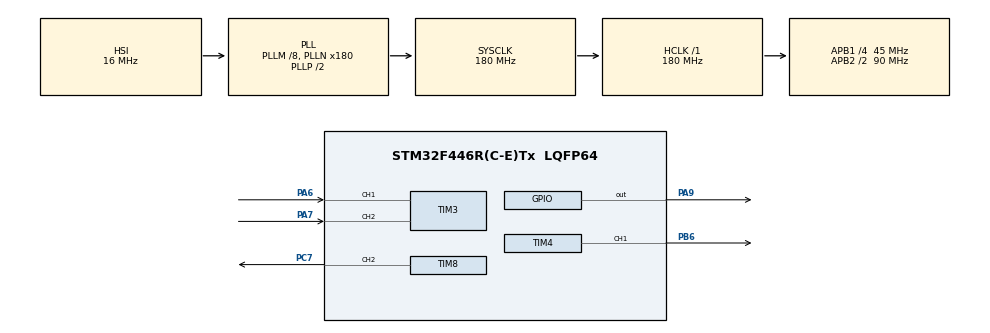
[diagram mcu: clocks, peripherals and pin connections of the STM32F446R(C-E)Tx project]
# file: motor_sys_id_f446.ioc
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Mcu.Family=STM32F4
Mcu.Name=STM32F446R(C-E)Tx
Mcu.Package=LQFP64
NVIC.PriorityGroup=NVIC_PRIORITYGROUP_4
NVIC.TIM3_IRQn=true\:0\:0\:false\:false\:true\:true\:true\:true
NVIC.TIM4_IRQn=true\:0\:0\:false\:false\:true\:true\:true\:true
NVIC.TIM5_IRQn=true\:0\:0\:false\:false\:true\:true\:true\:true
PA6.Signal=S_TIM3_CH1
PA7.Signal=S_TIM3_CH2
PA9.Signal=GPIO_Output
PB6.Signal=S_TIM4_CH1
PC7.Signal=S_TIM8_CH2
ProjectManager.HeapSize=0x200
ProjectManager.StackSize=0x400
ProjectManager.TargetToolchain=STM32CubeIDE
RCC.AHBFreq_Value=180000000
RCC.APB1CLKDivider=RCC_HCLK_DIV4
RCC.APB1Freq_Value=45000000
RCC.APB1TimFreq_Value=90000000
RCC.APB2CLKDivider=RCC_HCLK_DIV2
RCC.APB2Freq_Value=90000000
RCC.APB2TimFreq_Value=180000000
RCC.CortexFreq_Value=180000000
RCC.HCLKFreq_Value=180000000
RCC.PLLM=8
RCC.PLLN=180
RCC.SYSCLKFreq_VALUE=180000000
RCC.SYSCLKSource=RCC_SYSCLKSOURCE_PLLCLK
RCC.USBFreq_Value=180000000
RCC.VCOOutputFreq_Value=360000000
SH.S_TIM3_CH1.0=TIM3_CH1,Encoder_Interface
SH.S_TIM3_CH2.0=TIM3_CH2,Encoder_Interface
SH.S_TIM4_CH1.0=TIM4_CH1,PWM Generation1 CH1
SH.S_TIM8_CH2.0=TIM8_CH2,PWM Generation2 CH2
TIM3.EncoderMode=TIM_ENCODERMODE_TI12
TIM4.Channel-PWM\ Generation1\ CH1=TIM_CHANNEL_1
TIM4.Period=10000-1
TIM4.Prescaler=9-1
TIM5.Period=10000-1
TIM5.Prescaler=9-1
TIM8.Channel-PWM\ Generation2\ CH2=TIM_CHANNEL_2
TIM8.Period=10000-1
TIM8.Prescaler=9-1
VP_TIM4_VS_ClockSourceINT.Mode=Internal
VP_TIM5_VS_ClockSourceINT.Mode=Internal
VP_TIM8_VS_ClockSourceINT.Mode=Internal
board=custom

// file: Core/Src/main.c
/* USER CODE BEGIN Header */
/**
  ******************************************************************************
  * @file           : main.c
  * @brief          : Main program body
  ******************************************************************************
  * @attention
  *
  * Copyright (c) 2022 STMicroelectronics.
  * All rights reserved.
  *
  * This software is licensed under terms that can be found in the LICENSE file
  * in the root directory of this software component.
  * If no LICENSE file comes with this software, it is provided AS-IS.
  *
  ******************************************************************************
  */
/* USER CODE END Header */
#include "main.h"

/* USER CODE BEGIN Includes */
#include "motor.h"
#include "logging.h"
/* USER CODE END Includes */

TIM_HandleTypeDef htim3;
TIM_HandleTypeDef htim4;
TIM_HandleTypeDef htim5;
TIM_HandleTypeDef htim8;

void SystemClock_Config(void);
static void MX_GPIO_Init(void);
static void MX_TIM3_Init(void);
static void MX_TIM4_Init(void);
static void MX_TIM5_Init(void);
static void MX_TIM8_Init(void);

/* USER CODE BEGIN 0 */
motor motor_1;
Logger logger;

int tim_cnt = 0;
float sec = 0;
float duty = 1.0;
float max_voltage = 12.24;
float output_duty = 0;
int sample_idx = 0;
float sine_freq = 132;
float sine_amplitude = 6;

void HAL_TIM_PeriodElapsedCallback(TIM_HandleTypeDef *htim){
	if (htim == &htim5){
		motor_encoder_update(&motor_1);

		if (tim_cnt == 0){
			printf("timestamp, output_voltage, angular_velocity \n");
		}

//     for logging
//		 if (tim_cnt % 500 == 0){
//		 	if (logger.finished_logging == 0){
//		 		motor_1.controller.command_vel = get_logger_input(&logger);
//		 	}
//		 	else{
//		 		motor_1.controller.command_vel = 0;
//		 	}
//		 }

//     if (sec == 1)
//    	 motor_1.controller.command_vel = 6.0;
//    	 motor_duty_output(&motor_1, 0.5);

	motor_1.controller.command_vel = sine_amplitude * sin(sine_freq * sec);

    motor_command_tracking(&motor_1);

     if (tim_cnt % 4 == 0 && sec <= 5)
       log_motor_state(&motor_1, sec);

		tim_cnt ++;
		sec = (float)tim_cnt/1000;
	}
}

/* USER CODE END 0 */

int main(void)
{

  /* MCU Configuration--------------------------------------------------------*/

  /* Reset of all peripherals, Initializes the Flash interface and the Systick. */
  HAL_Init();

  /* Configure the system clock */
  SystemClock_Config();

  /* Initialize all configured peripherals */
  MX_GPIO_Init();
  MX_TIM3_Init();
  MX_TIM4_Init();
  MX_TIM5_Init();
  MX_TIM8_Init();
  /* USER CODE BEGIN 2 */
  motor_hardware_setup(&motor_1);
  motor_driver_initialize(&motor_1);
  logger_setup(&logger);
  HAL_TIM_Base_Start_IT(&htim5);

  /* USER CODE END 2 */

  /* Infinite loop */
  while (1)
  {

    /* USER CODE BEGIN 3 */
//	  motor_duty_output(&motor_1, duty);
  }
  /* USER CODE END 3 */
}

void SystemClock_Config(void)
{
  RCC_OscInitTypeDef RCC_OscInitStruct = {0};
  RCC_ClkInitTypeDef RCC_ClkInitStruct = {0};

  /** Configure the main internal regulator output voltage
  */
  __HAL_RCC_PWR_CLK_ENABLE();
  __HAL_PWR_VOLTAGESCALING_CONFIG(PWR_REGULATOR_VOLTAGE_SCALE1);

  /** Initializes the RCC Oscillators according to the specified parameters
  * in the RCC_OscInitTypeDef structure.
  */
  RCC_OscInitStruct.OscillatorType = RCC_OSCILLATORTYPE_HSI;
  RCC_OscInitStruct.HSIState = RCC_HSI_ON;
  RCC_OscInitStruct.HSICalibrationValue = RCC_HSICALIBRATION_DEFAULT;
  RCC_OscInitStruct.PLL.PLLState = RCC_PLL_ON;
  RCC_OscInitStruct.PLL.PLLSource = RCC_PLLSOURCE_HSI;
  RCC_OscInitStruct.PLL.PLLM = 8;
  RCC_OscInitStruct.PLL.PLLN = 180;
  RCC_OscInitStruct.PLL.PLLP = RCC_PLLP_DIV2;
  RCC_OscInitStruct.PLL.PLLQ = 2;
  RCC_OscInitStruct.PLL.PLLR = 2;
  if (HAL_RCC_OscConfig(&RCC_OscInitStruct) != HAL_OK)
  {
    Error_Handler();
  }

  /** Activate the Over-Drive mode
  */
  if (HAL_PWREx_EnableOverDrive() != HAL_OK)
  {
    Error_Handler();
  }

  /** Initializes the CPU, AHB and APB buses clocks
  */
  RCC_ClkInitStruct.ClockType = RCC_CLOCKTYPE_HCLK|RCC_CLOCKTYPE_SYSCLK
                              |RCC_CLOCKTYPE_PCLK1|RCC_CLOCKTYPE_PCLK2;
  RCC_ClkInitStruct.SYSCLKSource = RCC_SYSCLKSOURCE_PLLCLK;
  RCC_ClkInitStruct.AHBCLKDivider = RCC_SYSCLK_DIV1;
  RCC_ClkInitStruct.APB1CLKDivider = RCC_HCLK_DIV4;
  RCC_ClkInitStruct.APB2CLKDivider = RCC_HCLK_DIV2;

  if (HAL_RCC_ClockConfig(&RCC_ClkInitStruct, FLASH_LATENCY_5) != HAL_OK)
  {
    Error_Handler();
  }
}

static void MX_TIM3_Init(void)
{

  TIM_Encoder_InitTypeDef sConfig = {0};
  TIM_MasterConfigTypeDef sMasterConfig = {0};

  htim3.Instance = TIM3;
  htim3.Init.Prescaler = 0;
  htim3.Init.CounterMode = TIM_COUNTERMODE_UP;
  htim3.Init.Period = 65535;
  htim3.Init.ClockDivision = TIM_CLOCKDIVISION_DIV1;
  htim3.Init.AutoReloadPreload = TIM_AUTORELOAD_PRELOAD_DISABLE;
  sConfig.EncoderMode = TIM_ENCODERMODE_TI12;
  sConfig.IC1Polarity = TIM_ICPOLARITY_RISING;
  sConfig.IC1Selection = TIM_ICSELECTION_DIRECTTI;
  sConfig.IC1Prescaler = TIM_ICPSC_DIV1;
  sConfig.IC1Filter = 0;
  sConfig.IC2Polarity = TIM_ICPOLARITY_RISING;
  sConfig.IC2Selection = TIM_ICSELECTION_DIRECTTI;
  sConfig.IC2Prescaler = TIM_ICPSC_DIV1;
  sConfig.IC2Filter = 0;
  if (HAL_TIM_Encoder_Init(&htim3, &sConfig) != HAL_OK)
  {
    Error_Handler();
  }
  sMasterConfig.MasterOutputTrigger = TIM_TRGO_RESET;
  sMasterConfig.MasterSlaveMode = TIM_MASTERSLAVEMODE_DISABLE;
  if (HAL_TIMEx_MasterConfigSynchronization(&htim3, &sMasterConfig) != HAL_OK)
  {
    Error_Handler();
  }

}

static void MX_TIM4_Init(void)
{

  TIM_ClockConfigTypeDef sClockSourceConfig = {0};
  TIM_MasterConfigTypeDef sMasterConfig = {0};
  TIM_OC_InitTypeDef sConfigOC = {0};

  htim4.Instance = TIM4;
  htim4.Init.Prescaler = 9-1;
  htim4.Init.CounterMode = TIM_COUNTERMODE_UP;
  htim4.Init.Period = 10000-1;
  htim4.Init.ClockDivision = TIM_CLOCKDIVISION_DIV1;
  htim4.Init.AutoReloadPreload = TIM_AUTORELOAD_PRELOAD_DISABLE;
  if (HAL_TIM_Base_Init(&htim4) != HAL_OK)
  {
    Error_Handler();
  }
  sClockSourceConfig.ClockSource = TIM_CLOCKSOURCE_INTERNAL;
  if (HAL_TIM_ConfigClockSource(&htim4, &sClockSourceConfig) != HAL_OK)
  {
    Error_Handler();
  }
  if (HAL_TIM_PWM_Init(&htim4) != HAL_OK)
  {
    Error_Handler();
  }
  sMasterConfig.MasterOutputTrigger = TIM_TRGO_RESET;
  sMasterConfig.MasterSlaveMode = TIM_MASTERSLAVEMODE_DISABLE;
  if (HAL_TIMEx_MasterConfigSynchronization(&htim4, &sMasterConfig) != HAL_OK)
  {
    Error_Handler();
  }
  sConfigOC.OCMode = TIM_OCMODE_PWM1;
  sConfigOC.Pulse = 0;
  sConfigOC.OCPolarity = TIM_OCPOLARITY_HIGH;
  sConfigOC.OCFastMode = TIM_OCFAST_DISABLE;
  if (HAL_TIM_PWM_ConfigChannel(&htim4, &sConfigOC, TIM_CHANNEL_1) != HAL_OK)
  {
    Error_Handler();
  }
  HAL_TIM_MspPostInit(&htim4);

}

static void MX_TIM5_Init(void)
{

  TIM_ClockConfigTypeDef sClockSourceConfig = {0};
  TIM_MasterConfigTypeDef sMasterConfig = {0};

  htim5.Instance = TIM5;
  htim5.Init.Prescaler = 9-1;
  htim5.Init.CounterMode = TIM_COUNTERMODE_UP;
  htim5.Init.Period = 10000-1;
  htim5.Init.ClockDivision = TIM_CLOCKDIVISION_DIV1;
  htim5.Init.AutoReloadPreload = TIM_AUTORELOAD_PRELOAD_DISABLE;
  if (HAL_TIM_Base_Init(&htim5) != HAL_OK)
  {
    Error_Handler();
  }
  sClockSourceConfig.ClockSource = TIM_CLOCKSOURCE_INTERNAL;
  if (HAL_TIM_ConfigClockSource(&htim5, &sClockSourceConfig) != HAL_OK)
  {
    Error_Handler();
  }
  sMasterConfig.MasterOutputTrigger = TIM_TRGO_RESET;
  sMasterConfig.MasterSlaveMode = TIM_MASTERSLAVEMODE_DISABLE;
  if (HAL_TIMEx_MasterConfigSynchronization(&htim5, &sMasterConfig) != HAL_OK)
  {
    Error_Handler();
  }

}

static void MX_TIM8_Init(void)
{

  TIM_ClockConfigTypeDef sClockSourceConfig = {0};
  TIM_MasterConfigTypeDef sMasterConfig = {0};
  TIM_OC_InitTypeDef sConfigOC = {0};
  TIM_BreakDeadTimeConfigTypeDef sBreakDeadTimeConfig = {0};

  htim8.Instance = TIM8;
  htim8.Init.Prescaler = 9-1;
  htim8.Init.CounterMode = TIM_COUNTERMODE_UP;
  htim8.Init.Period = 10000-1;
  htim8.Init.ClockDivision = TIM_CLOCKDIVISION_DIV1;
  htim8.Init.RepetitionCounter = 0;
  htim8.Init.AutoReloadPreload = TIM_AUTORELOAD_PRELOAD_DISABLE;
  if (HAL_TIM_Base_Init(&htim8) != HAL_OK)
  {
    Error_Handler();
  }
  sClockSourceConfig.ClockSource = TIM_CLOCKSOURCE_INTERNAL;
  if (HAL_TIM_ConfigClockSource(&htim8, &sClockSourceConfig) != HAL_OK)
  {
    Error_Handler();
  }
  if (HAL_TIM_PWM_Init(&htim8) != HAL_OK)
  {
    Error_Handler();
  }
  sMasterConfig.MasterOutputTrigger = TIM_TRGO_RESET;
  sMasterConfig.MasterSlaveMode = TIM_MASTERSLAVEMODE_DISABLE;
  if (HAL_TIMEx_MasterConfigSynchronization(&htim8, &sMasterConfig) != HAL_OK)
  {
    Error_Handler();
  }
  sConfigOC.OCMode = TIM_OCMODE_PWM1;
  sConfigOC.Pulse = 0;
  sConfigOC.OCPolarity = TIM_OCPOLARITY_HIGH;
  sConfigOC.OCNPolarity = TIM_OCNPOLARITY_HIGH;
  sConfigOC.OCFastMode = TIM_OCFAST_DISABLE;
  sConfigOC.OCIdleState = TIM_OCIDLESTATE_RESET;
  sConfigOC.OCNIdleState = TIM_OCNIDLESTATE_RESET;
  if (HAL_TIM_PWM_ConfigChannel(&htim8, &sConfigOC, TIM_CHANNEL_2) != HAL_OK)
  {
    Error_Handler();
  }
  sBreakDeadTimeConfig.OffStateRunMode = TIM_OSSR_DISABLE;
  sBreakDeadTimeConfig.OffStateIDLEMode = TIM_OSSI_DISABLE;
  sBreakDeadTimeConfig.LockLevel = TIM_LOCKLEVEL_OFF;
  sBreakDeadTimeConfig.DeadTime = 0;
  sBreakDeadTimeConfig.BreakState = TIM_BREAK_DISABLE;
  sBreakDeadTimeConfig.BreakPolarity = TIM_BREAKPOLARITY_HIGH;
  sBreakDeadTimeConfig.AutomaticOutput = TIM_AUTOMATICOUTPUT_DISABLE;
  if (HAL_TIMEx_ConfigBreakDeadTime(&htim8, &sBreakDeadTimeConfig) != HAL_OK)
  {
    Error_Handler();
  }
  HAL_TIM_MspPostInit(&htim8);

}

static void MX_GPIO_Init(void)
{
  GPIO_InitTypeDef GPIO_InitStruct = {0};

  /* GPIO Ports Clock Enable */
  __HAL_RCC_GPIOA_CLK_ENABLE();
  __HAL_RCC_GPIOC_CLK_ENABLE();
  __HAL_RCC_GPIOB_CLK_ENABLE();

  /*Configure GPIO pin Output Level */
  HAL_GPIO_WritePin(GPIOA, GPIO_PIN_9, GPIO_PIN_RESET);

  /*Configure GPIO pin : PA9 */
  GPIO_InitStruct.Pin = GPIO_PIN_9;
  GPIO_InitStruct.Mode = GPIO_MODE_OUTPUT_PP;
  GPIO_InitStruct.Pull = GPIO_NOPULL;
  GPIO_InitStruct.Speed = GPIO_SPEED_FREQ_LOW;
  HAL_GPIO_Init(GPIOA, &GPIO_InitStruct);

}

void Error_Handler(void)
{
  __disable_irq();
  while (1)
  {
  }
}
